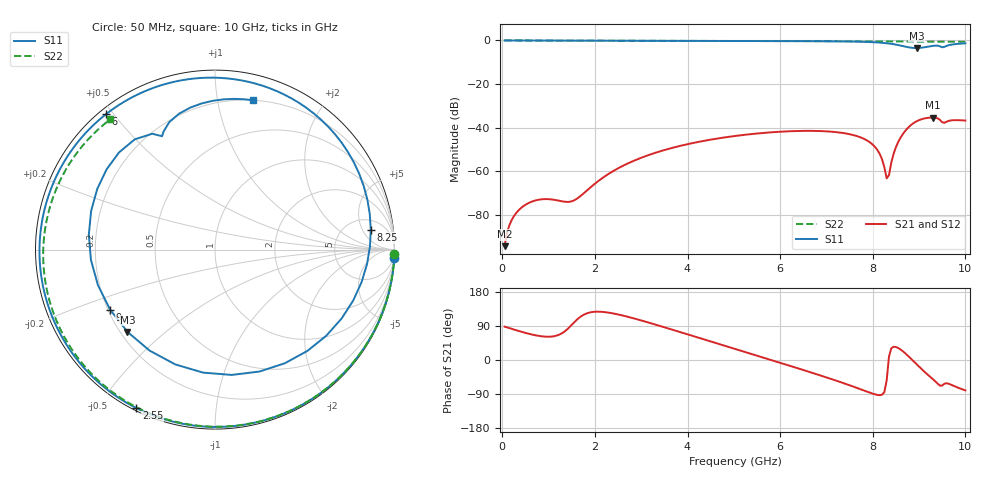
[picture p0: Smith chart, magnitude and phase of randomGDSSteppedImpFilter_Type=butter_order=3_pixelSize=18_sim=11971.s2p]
! freq	dB(S11)	phase(S11)	dB(S12)	phase(S12)
!  dB(S21)	phase(S21)	dB(S22)	phase(S22)
!S-par simulation data
#  GHz  S  DB  R 50
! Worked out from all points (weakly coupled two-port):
!   200 points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, 50 MHz to 10 GHz, reference 50 ohm
!   highest |S21| = -35.36 dB at 9.3 GHz (marker M1); lowest = -94.4 dB at 50 MHz (marker M2)
!   lowest |S11| = -3.5 dB at 8.95 GHz (marker M3), VSWR 5.05, Z = 11.4 - j18.9 ohm
!   |S11| at or under -10 dB: nowhere
!   |S22| runs from -0.6 to 0.0 dB; largest |S21 - S12| = 0
!   S11 on the Smith chart (normalised r, x): 50 MHz: 0, -44; 2.55 GHz: 0.01, -0.62; 6 GHz: 0.02, +0.48; 8.25 GHz: 8, +7; 9 GHz: 0.21, -0.25; 10 GHz: 0.20, +1.27
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0.05  -0.00 -2.6  -94.38 88.1  -94.38 88.1  -0.00 -1.4
0.95  -0.06 -47.9  -72.78 61.5  -72.78 61.5  -0.03 -25.8
1.45  -0.08 -71.2  -74.02 86.6  -74.02 86.6  -0.05 -39.0
1.75  -0.10 -84.3  -70.29 118.9  -70.29 118.9  -0.06 -46.8
2.55  -0.13 -116.4  -58.10 118.8  -58.10 118.8  -0.09 -66.9
3.4  -0.15 -146.5  -50.91 90.1  -50.91 90.1  -0.11 -87.3
5.05  -0.22 160.2  -43.76 28.4  -43.76 28.4  -0.18 -123.8
6  -0.28 128.8  -41.87 -7.3  -41.87 -7.3  -0.24 -143.7
6.7  -0.34 103.0  -41.48 -34.1  -41.48 -34.1  -0.29 -158.2
7.35  -0.44 73.9  -42.43 -60.3  -42.43 -60.3  -0.35 -171.7
7.85  -0.65 43.8  -45.57 -82.3  -45.57 -82.3  -0.39 177.8
8.1  -0.91 23.1  -50.27 -92.2  -50.27 -92.2  -0.42 172.4
8.25  -1.16 7.2  -58.16 -84.5  -58.16 -84.5  -0.43 169.2
8.3  -1.27 1.2  -63.27 -54.1  -63.27 -54.1  -0.44 168.1
8.35  -1.40 -5.4  -61.79 8.9  -61.79 8.9  -0.44 167.0
8.5  -1.90 -28.6  -48.95 34.3  -48.95 34.3  -0.46 163.7
8.7  -2.82 -70.0  -41.51 17.8  -41.51 17.8  -0.48 159.3
8.95  -3.49 -136.8  -37.04 -11.8  -37.04 -11.8  -0.50 153.6
9  -3.44 -150.2  -36.55 -17.8  -36.55 -17.8  -0.51 152.5
9.3  -2.48 143.5  -35.36 -50.8  -35.36 -50.8  -0.54 145.6
9.7  -1.90 99.9  -36.66 -65.8  -36.66 -65.8  -0.59 136.1
10  -1.32 75.6  -36.74 -80.2  -36.74 -80.2  -0.62 128.8
